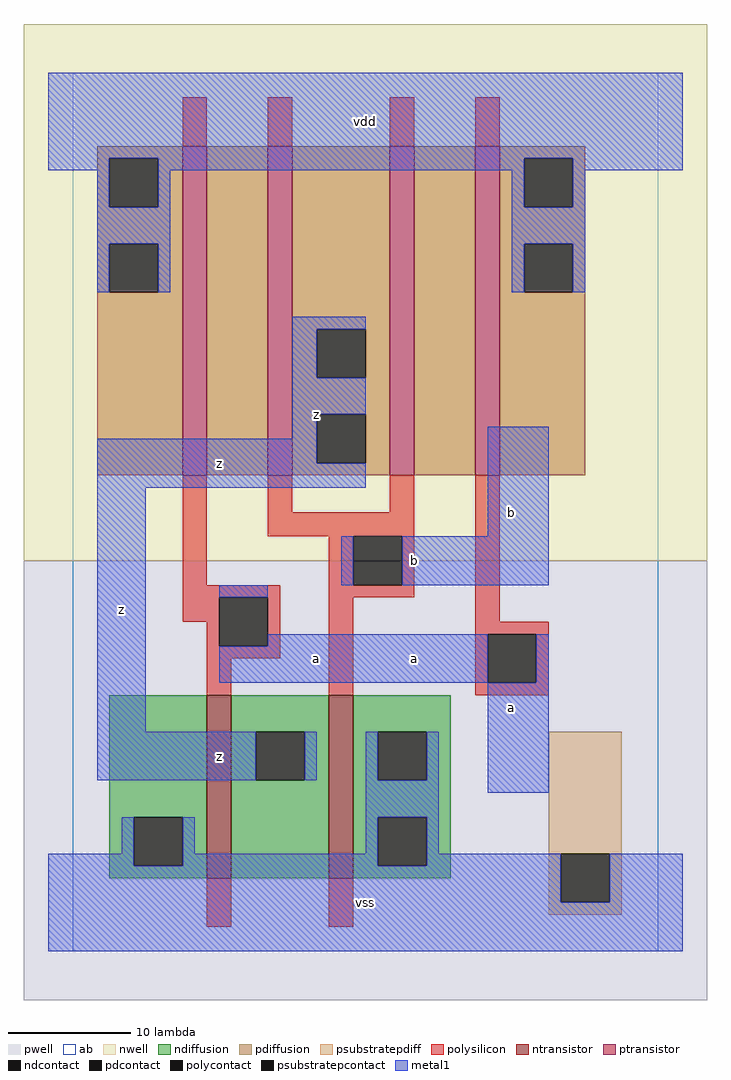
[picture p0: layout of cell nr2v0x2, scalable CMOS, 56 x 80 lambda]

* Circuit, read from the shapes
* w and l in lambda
.subckt nr2v0x2 a b vdd vss z
M1 z a vss vss nfet w=15 l=2
M2 vss b z vss nfet w=15 l=2
M3 n1 a vdd n2 pfet w=27 l=2
M4 z b n1 n2 pfet w=27 l=2
M5 n3 b z n2 pfet w=27 l=2
M6 vdd a n3 n2 pfet w=27 l=2
.ends

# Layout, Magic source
magic
tech scmos
<< ab >>
rect 0 0 48 72
<< pwell >>
rect -4 -4 52 32
<< nwell >>
rect -4 32 52 76
<< polysilicon >>
rect 9 66 11 70
rect 16 66 18 70
rect 26 66 28 70
rect 33 66 35 70
rect 9 30 11 39
rect 16 36 18 39
rect 26 36 28 39
rect 16 34 28 36
rect 21 30 23 34
rect 27 30 28 34
rect 9 29 17 30
rect 9 27 12 29
rect 11 25 12 27
rect 16 25 17 29
rect 11 24 17 25
rect 21 29 28 30
rect 11 21 13 24
rect 21 21 23 29
rect 33 27 35 39
rect 33 26 39 27
rect 33 22 34 26
rect 38 22 39 26
rect 33 21 39 22
rect 11 2 13 6
rect 21 2 23 6
<< ndiffusion >>
rect 3 11 11 21
rect 3 7 5 11
rect 9 7 11 11
rect 3 6 11 7
rect 13 18 21 21
rect 13 14 15 18
rect 19 14 21 18
rect 13 6 21 14
rect 23 18 31 21
rect 23 14 25 18
rect 29 14 31 18
rect 23 11 31 14
rect 23 7 25 11
rect 29 7 31 11
rect 23 6 31 7
<< pdiffusion >>
rect 2 65 9 66
rect 2 61 3 65
rect 7 61 9 65
rect 2 58 9 61
rect 2 54 3 58
rect 7 54 9 58
rect 2 39 9 54
rect 11 39 16 66
rect 18 51 26 66
rect 18 47 20 51
rect 24 47 26 51
rect 18 44 26 47
rect 18 40 20 44
rect 24 40 26 44
rect 18 39 26 40
rect 28 39 33 66
rect 35 65 42 66
rect 35 61 37 65
rect 41 61 42 65
rect 35 58 42 61
rect 35 54 37 58
rect 41 54 42 58
rect 35 39 42 54
<< metal1 >>
rect -2 65 50 72
rect -2 64 3 65
rect 2 61 3 64
rect 7 64 37 65
rect 7 61 8 64
rect 2 58 8 61
rect 2 54 3 58
rect 7 54 8 58
rect 36 61 37 64
rect 41 64 50 65
rect 41 61 42 64
rect 36 58 42 61
rect 36 54 37 58
rect 41 54 42 58
rect 18 51 24 52
rect 18 47 20 51
rect 18 44 24 47
rect 18 42 20 44
rect 2 40 20 42
rect 2 38 24 40
rect 2 18 6 38
rect 34 34 39 43
rect 22 30 23 34
rect 27 30 39 34
rect 12 29 16 30
rect 16 25 34 26
rect 12 22 34 25
rect 38 22 39 26
rect 2 14 15 18
rect 19 14 20 18
rect 24 14 25 18
rect 29 14 30 18
rect 24 11 30 14
rect 34 13 39 22
rect 4 8 5 11
rect -2 7 5 8
rect 9 8 10 11
rect 24 8 25 11
rect 9 7 25 8
rect 29 8 30 11
rect 29 7 40 8
rect -2 4 40 7
rect 44 4 50 8
rect -2 0 50 4
<< ntransistor >>
rect 11 6 13 21
rect 21 6 23 21
<< ptransistor >>
rect 9 39 11 66
rect 16 39 18 66
rect 26 39 28 66
rect 33 39 35 66
<< polycontact >>
rect 23 30 27 34
rect 12 25 16 29
rect 34 22 38 26
<< ndcontact >>
rect 5 7 9 11
rect 15 14 19 18
rect 25 14 29 18
rect 25 7 29 11
<< pdcontact >>
rect 3 61 7 65
rect 3 54 7 58
rect 20 47 24 51
rect 20 40 24 44
rect 37 61 41 65
rect 37 54 41 58
<< psubstratepcontact >>
rect 40 4 44 8
<< psubstratepdiff >>
rect 39 8 45 18
rect 39 4 40 8
rect 44 4 45 8
rect 39 3 45 4
<< labels >>
rlabel metal1 4 28 4 28 6 z
rlabel metal1 12 16 12 16 6 z
rlabel metal1 20 24 20 24 6 a
rlabel metal1 12 40 12 40 6 z
rlabel metal1 20 44 20 44 6 z
rlabel metal1 24 4 24 4 6 vss
rlabel metal1 28 24 28 24 6 a
rlabel metal1 28 32 28 32 6 b
rlabel metal1 24 68 24 68 6 vdd
rlabel metal1 36 20 36 20 6 a
rlabel metal1 36 36 36 36 6 b
<< end >>
